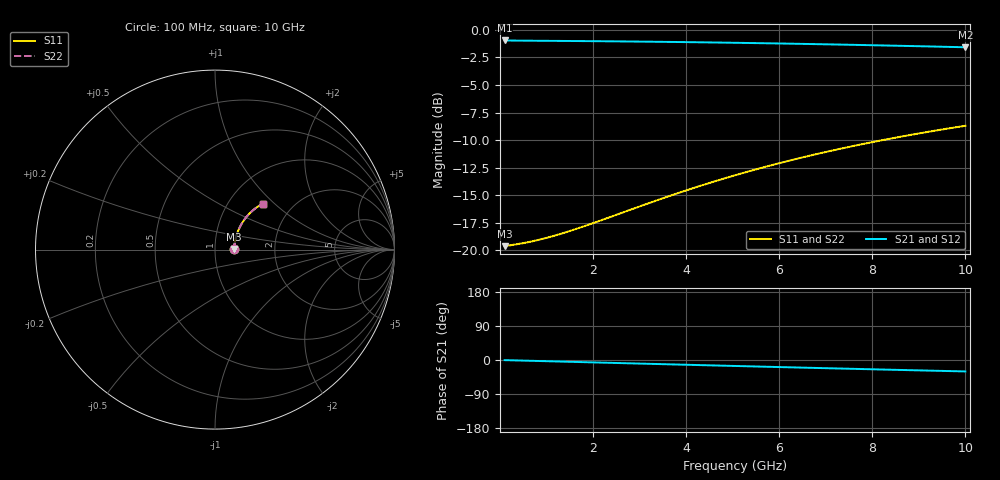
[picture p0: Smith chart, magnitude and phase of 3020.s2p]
# Hz S RI R 50.00
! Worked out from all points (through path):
!   100 points, 100 MHz to 10 GHz, reference 50 ohm
!   highest |S21| = -0.96 dB at 100 MHz (marker M1); lowest = -1.6 dB at 10 GHz (marker M2)
!   group delay of S21, straight-line fit = 8.41 ps
!   lowest |S11| = -19.6 dB at 100 MHz (marker M3), VSWR 1.23, Z = 61.7 + j0.414 ohm
!   |S11| at or under -10 dB: start of sweep to 8.217 GHz
!   |S22| runs from -19.6 to -8.7 dB; largest |S21 - S12| = 0
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1e8  0.1045 0.00332  0.8955 -0.00496  0.8955 -0.00496  0.1045 0.00332
5e8  0.1067 0.0165  0.8933 -0.0247  0.8933 -0.0247  0.1067 0.0165
7e8  0.1076 0.0231  0.8923 -0.0345  0.8923 -0.0345  0.1076 0.0231
9e8  0.1086 0.0296  0.8913 -0.0443  0.8913 -0.0443  0.1086 0.0296
1.1e9  0.1097 0.0361  0.8901 -0.0541  0.8901 -0.0541  0.1097 0.0361
1.3e9  0.1109 0.0426  0.8889 -0.0639  0.8889 -0.0639  0.1109 0.0426
1.8e9  0.1143 0.0587  0.8852 -0.0881  0.8852 -0.0881  0.1143 0.0587
2.6e9  0.1214 0.0838  0.8776 -0.1263  0.8776 -0.1263  0.1214 0.0838
3.4e9  0.1305 0.1081  0.8678 -0.1637  0.8678 -0.1637  0.1305 0.1081
3.9e9  0.1372 0.1228  0.8606 -0.1865  0.8606 -0.1865  0.1372 0.1228
4.3e9  0.143 0.1342  0.8543 -0.2045  0.8543 -0.2045  0.143 0.1342
4.7e9  0.1493 0.1453  0.8475 -0.2221  0.8475 -0.2221  0.1493 0.1453
5.1e9  0.1561 0.156  0.8402 -0.2394  0.8402 -0.2394  0.1561 0.156
5.5e9  0.1632 0.1664  0.8325 -0.2564  0.8325 -0.2564  0.1632 0.1664
5.9e9  0.1707 0.1764  0.8243 -0.273  0.8243 -0.273  0.1707 0.1764
6.3e9  0.1786 0.186  0.8157 -0.2892  0.8157 -0.2892  0.1786 0.186
6.7e9  0.1868 0.1953  0.8068 -0.305  0.8068 -0.305  0.1868 0.1953
7.5e9  0.2042 0.2125  0.7877 -0.3354  0.7877 -0.3354  0.2042 0.2125
7.9e9  0.2133 0.2204  0.7777 -0.35  0.7777 -0.35  0.2133 0.2204
8.4e9  0.2251 0.2298  0.7648 -0.3676  0.7648 -0.3676  0.2251 0.2298
9.2e9  0.2445 0.2433  0.7433 -0.3944  0.7433 -0.3944  0.2445 0.2433
1e10  0.2647 0.255  0.721 -0.4194  0.721 -0.4194  0.2647 0.255
